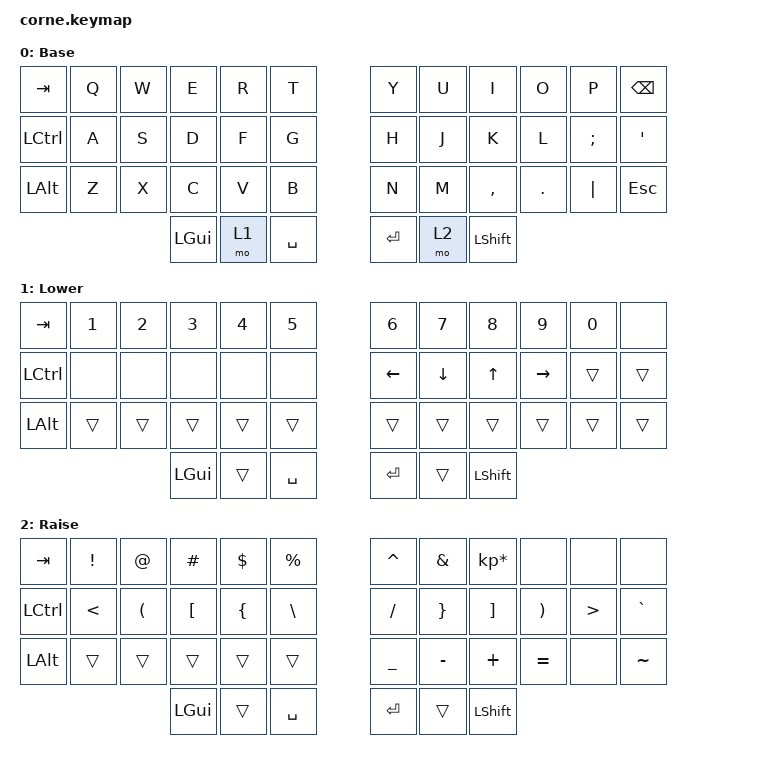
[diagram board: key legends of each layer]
/*
 * Copyright (c) 2020 The ZMK Contributors
 *
 * SPDX-License-Identifier: MIT
 */

#include <behaviors.dtsi>
#include <dt-bindings/zmk/keys.h>

/ {
    keymap {
        compatible = "zmk,keymap";

        default_layer {
            // -----------------------------------------------------------------------------------------
            // |  TAB |  Q  |  W  |  E  |  R  |  T  |   |  Y  |  U   |  I  |  O  |  P  | BKSP |
            // | CTRL |  A  |  S  |  D  |  F  |  G  |   |  H  |  J   |  K  |  L  |  ;  |  '   |
            // | SHFT |  Z  |  X  |  C  |  V  |  B  |   |  N  |  M   |  ,  |  .  |  /  | ESC  |
            //                    | GUI | LWR | SPC |   | ENT | RSE  | ALT |

            display-name = "Base";
            bindings = <
&kp TAB       &kp Q  &kp W  &kp E     &kp R  &kp T        &kp Y    &kp U  &kp I           &kp O    &kp P     &kp BSPC
&kp LCTRL     &kp A  &kp S  &kp D     &kp F  &kp G        &kp H    &kp J  &kp K           &kp L    &kp SEMI  &kp SQT
&kp LEFT_ALT  &kp Z  &kp X  &kp C     &kp V  &kp B        &kp N    &kp M  &kp COMMA       &kp DOT  &kp PIPE  &kp ESC
                            &kp LGUI  &mo 1  &kp SPACE    &kp RET  &mo 2  &kp LEFT_SHIFT
            >;
        };

        lower_layer {
            // -----------------------------------------------------------------------------------------
            // |  TAB |  1  |  2  |  3  |  4  |  5  |   |  6  |  7  |  8  |  9  |  0  | BKSP |
            // | BTCLR| BT1 | BT2 | BT3 | BT4 | BT5 |   | LFT | DWN |  UP | RGT |     |      |
            // | SHFT |     |     |     |     |     |   |     |     |     |     |     |      |
            //                    | GUI |     | SPC |   | ENT |     | ALT |

            display-name = "Lower";
            bindings = <
&kp TAB       &kp N1  &kp N2  &kp N3    &kp N4  &kp N5       &kp N6    &kp N7    &kp N8          &kp N9     &kp N0  &none
&kp LCTRL     &none   &none   &none     &none   &none        &kp LEFT  &kp DOWN  &kp UP          &kp RIGHT  &trans  &trans
&kp LEFT_ALT  &trans  &trans  &trans    &trans  &trans       &trans    &trans    &trans          &trans     &trans  &trans
                              &kp LGUI  &trans  &kp SPACE    &kp RET   &trans    &kp LEFT_SHIFT
            >;
        };

        raise_layer {
            // -----------------------------------------------------------------------------------------
            // |  TAB |  !  |  @  |  #  |  $  |  %  |   |  ^  |  &  |  *  |  (  |  )  | BKSP |
            // | CTRL |     |     |     |     |     |   |  -  |  =  |  [  |  ]  |  \  |  `   |
            // | SHFT |     |     |     |     |     |   |  _  |  +  |  {  |  }  | "|" |  ~   |
            //                    | GUI |     | SPC |   | ENT |     | ALT |

            display-name = "Raise";
            bindings = <
&kp TAB       &kp EXCL       &kp AT                &kp HASH          &kp DLLR        &kp PRCNT        &kp CARET  &kp AMPS         &kp KP_MULTIPLY    &none                  &none             &none
&kp LCTRL     &kp LESS_THAN  &kp LEFT_PARENTHESIS  &kp LEFT_BRACKET  &kp LEFT_BRACE  &kp BACKSLASH    &kp SLASH  &kp RIGHT_BRACE  &kp RIGHT_BRACKET  &kp RIGHT_PARENTHESIS  &kp GREATER_THAN  &kp GRAVE
&kp LEFT_ALT  &trans         &trans                &trans            &trans          &trans           &kp UNDER  &kp MINUS        &kp PLUS           &kp EQUAL              &none             &kp TILDE
                                                   &kp LGUI          &trans          &kp SPACE        &kp RET    &trans           &kp LEFT_SHIFT
            >;
        };

        extra_1 { status = "reserved"; };

        extra_2 { status = "reserved"; };

        extra_3 { status = "reserved"; };
    };
};
